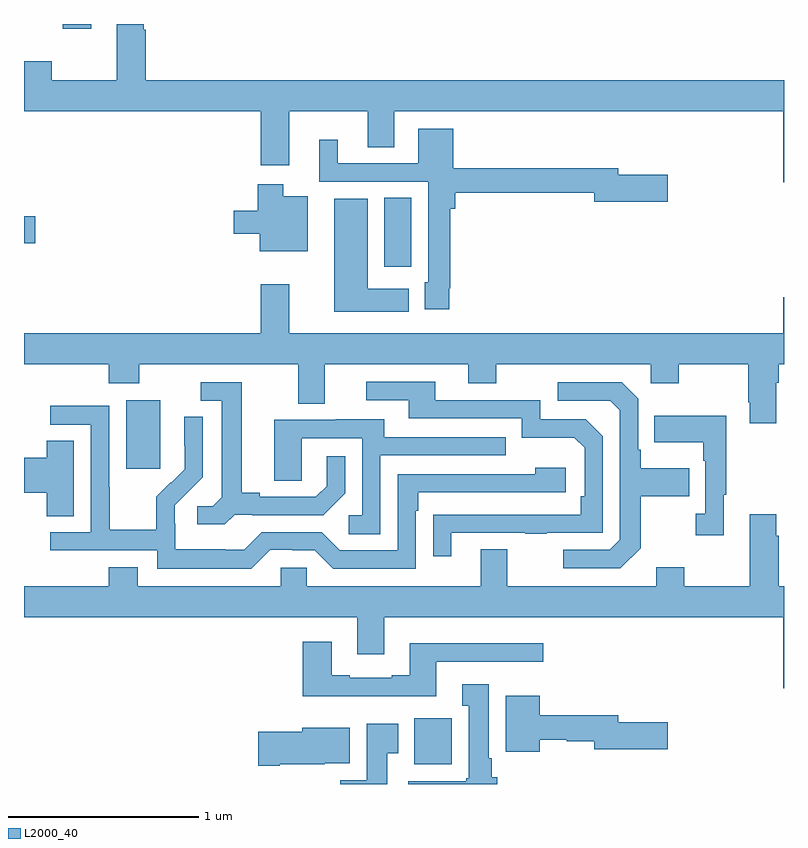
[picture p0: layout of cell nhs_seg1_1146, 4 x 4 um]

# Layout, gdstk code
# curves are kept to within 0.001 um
import gdstk
lib = gdstk.Library(unit=1e-6, precision=1e-09)
def R(c, l, rs):  # rectangles x0, y0, x1, y1
    for r in rs: c.add(gdstk.rectangle(r[:2], r[2:], *l))
def P(c, l, *ps):  # polygons
    for p in ps: c.add(gdstk.Polygon(p, *l))
L2000_40 = (2000, 40)

nhs_seg1_1146 = lib.new_cell('nhs_seg1_1146')
R(nhs_seg1_1146, L2000_40, [(175.055,540.302,175.252,540.544), (173.537,541.857,173.716,542.218), (174.896,542.922,175.039,543.284), (173,543.046,173.059,543.188), (173.205,544.173,173.353,544.199)])
P(nhs_seg1_1146, L2000_40, [(177,543.904),(173.642,543.904),(173.642,544.169),(173.629,544.169),(173.629,544.199),(173.489,544.199),(173.489,543.904),(173.145,543.904),(173.145,544.003),(173,544.003),(173,543.74),(174.245,543.74),(174.245,543.456),(174.397,543.456),(174.397,543.74),(174.809,543.74),(174.809,543.55),(174.949,543.55),(174.949,543.74),(176.996,543.74),(176.996,543.366),(177,543.366)],
  [(175.237,542.809),(175.244,542.809),(175.244,543.227),(175.271,543.227),(175.271,543.31),(176,543.31),(176,543.263),(176.389,543.263),(176.389,543.405),(176.128,543.405),(176.128,543.439),(175.258,543.439),(175.258,543.649),(175.076,543.649),(175.076,543.465),(174.652,543.465),(174.652,543.589),(174.554,543.589),(174.554,543.369),(175.128,543.369),(175.128,542.841),(175.109,542.841),(175.109,542.697),(175.237,542.697)],
  [(174.493,543.292),(174.364,543.292),(174.364,543.355),(174.23,543.355),(174.23,543.217),(174.105,543.217),(174.105,543.095),(174.242,543.095),(174.242,543.002),(174.493,543.002)],
  [(175.024,542.806),(174.808,542.806),(174.808,543.28),(174.632,543.28),(174.632,542.684),(175.024,542.684)],
  [(176.959,542.312),(176.972,542.312),(176.972,542.408),(177,542.408),(177,542.761),(176.996,542.761),(176.996,542.572),(174.397,542.572),(174.397,542.83),(174.245,542.83),(174.245,542.572),(173,542.572),(173,542.408),(173.447,542.408),(173.447,542.309),(173.607,542.309),(173.607,542.408),(174.443,542.408),(174.443,542.2),(174.583,542.2),(174.583,542.408),(175.337,542.408),(175.337,542.309),(175.485,542.309),(175.485,542.408),(176.298,542.408),(176.298,542.309),(176.445,542.309),(176.445,542.408),(176.812,542.408),(176.812,542.209),(176.819,542.209),(176.819,542.097),(176.959,542.097)],
  [(175.249,541.521),(175.639,541.521),(175.639,541.516),(175.751,541.516),(175.751,541.521),(176.046,541.521),(176.046,542.028),(175.956,542.118),(175.716,542.118),(175.716,542.22),(175.165,542.22),(175.165,542.316),(174.801,542.316),(174.801,542.22),(175.025,542.22),(175.025,542.124),(175.62,542.124),(175.62,542.021),(175.897,542.021),(175.95,541.968),(175.95,541.714),(175.93,541.714),(175.93,541.617),(175.153,541.616),(175.153,541.398),(175.249,541.398)],
  [(174.108,541.617),(174.202,541.617),(174.202,541.614),(174.574,541.614),(174.69,541.73),(174.69,541.924),(174.593,541.924),(174.593,541.767),(174.536,541.71),(174.241,541.71),(174.241,541.733),(174.145,541.733),(174.145,542.313),(173.931,542.313),(173.931,542.217),(174.041,542.217),(174.041,541.709),(173.994,541.662),(173.913,541.662),(173.913,541.565),(174.056,541.565)],
  [(176.245,541.441),(176.245,541.714),(176.501,541.714),(176.501,541.861),(176.245,541.861),(176.245,541.957),(176.232,541.957),(176.232,542.226),(176.145,542.313),(175.809,542.313),(175.809,542.217),(176.085,542.217),(176.136,542.166),(176.136,541.485),(176.082,541.431),(175.839,541.431),(175.839,541.335),(176.139,541.335)],
  [(174.297,541.431),(174.413,541.431),(174.413,541.428),(174.531,541.428),(174.627,541.332),(175.062,541.332),(175.062,541.637),(175.075,541.637),(175.075,541.734),(175.852,541.734),(175.852,541.864),(175.691,541.864),(175.691,541.83),(174.966,541.83),(174.966,541.428),(174.663,541.428),(174.567,541.524),(174.252,541.524),(174.159,541.431),(174.059,541.431),(174.059,541.435),(173.796,541.435),(173.796,541.569),(173.794,541.569),(173.794,541.666),(173.94,541.814),(173.94,542.132),(173.844,542.132),(173.844,541.978),(173.846,541.978),(173.846,541.856),(173.775,541.785),(173.772,541.788),(173.695,541.711),(173.695,541.537),(173.451,541.537),(173.451,541.76),(173.448,541.76),(173.448,542.19),(173.139,542.19),(173.139,542.091),(173.352,542.091),(173.352,541.524),(173.139,541.524),(173.139,541.428),(173.7,541.428),(173.7,541.331),(174.197,541.331)],
  [(176.683,541.721),(176.695,541.721),(176.695,542.137),(176.317,542.137),(176.317,541.997),(176.574,541.997),(176.574,541.901),(176.586,541.901),(176.586,541.622),(176.535,541.622),(176.535,541.509),(176.683,541.509)],
  [(174.876,541.929),(175.535,541.929),(175.535,542.025),(174.895,542.025),(174.895,542.119),(174.641,542.119),(174.641,542.115),(174.317,542.115),(174.317,541.795),(174.462,541.795),(174.462,542.019),(174.78,542.019),(174.78,541.614),(174.708,541.614),(174.708,541.513),(174.876,541.513)],
  [(173.263,542.006),(173.12,542.006),(173.12,541.916),(173,541.916),(173,541.733),(173.12,541.733),(173.12,541.609),(173.263,541.609)],
  [(177,541.24),(176.972,541.24),(176.972,541.505),(176.959,541.505),(176.959,541.618),(176.819,541.618),(176.819,541.24),(176.475,541.24),(176.475,541.339),(176.327,541.339),(176.327,541.24),(175.543,541.24),(175.543,541.435),(175.403,541.435),(175.403,541.24),(174.489,541.24),(174.489,541.338),(174.351,541.338),(174.351,541.24),(173.599,541.24),(173.599,541.339),(173.447,541.339),(173.447,541.24),(173,541.24),(173,541.076),(174.755,541.076),(174.755,540.882),(174.895,540.882),(174.895,541.076),(176.996,541.076),(176.996,540.702),(177,540.702)],
  [(175.171,540.843),(175.732,540.843),(175.732,540.94),(175.031,540.94),(175.031,540.772),(174.935,540.772),(174.935,540.759),(174.715,540.759),(174.715,540.772),(174.619,540.772),(174.619,540.949),(174.467,540.949),(174.467,540.662),(175.171,540.662)],
  [(175.492,540.234),(175.462,540.234),(175.462,540.334),(175.447,540.334),(175.447,540.724),(175.307,540.724),(175.307,540.611),(175.34,540.611),(175.34,540.228),(175.327,540.228),(175.327,540.214),(175.023,540.214),(175.023,540.199),(175.492,540.199)],
  [(175.714,540.432),(175.857,540.432),(175.857,540.424),(176,540.424),(176,540.382),(176.389,540.382),(176.389,540.524),(176.128,540.524),(176.128,540.56),(175.714,540.56),(175.714,540.664),(175.535,540.664),(175.535,540.368),(175.714,540.368)],
  [(174.913,540.361),(174.97,540.361),(174.97,540.517),(174.803,540.517),(174.803,540.22),(174.664,540.22),(174.664,540.199),(174.913,540.199)],
  [(174.346,540.302),(174.582,540.302),(174.582,540.308),(174.715,540.308),(174.715,540.496),(174.464,540.496),(174.464,540.473),(174.234,540.473),(174.234,540.295),(174.346,540.295)])

lib.write_gds('nhs_seg1_1146.gds')
